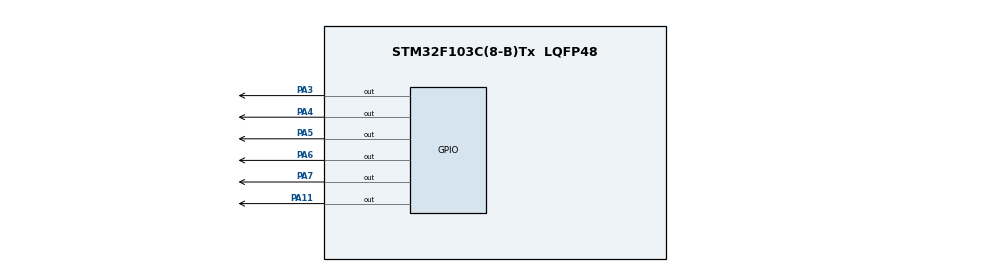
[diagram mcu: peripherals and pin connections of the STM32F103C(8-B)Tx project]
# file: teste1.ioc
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Mcu.Family=STM32F1
Mcu.Name=STM32F103C(8-B)Tx
Mcu.Package=LQFP48
NVIC.PriorityGroup=NVIC_PRIORITYGROUP_4
PA11.Signal=GPIO_Output
PA3.Signal=GPIO_Output
PA4.Signal=GPIO_Output
PA5.Signal=GPIO_Output
PA6.Signal=GPIO_Output
PA7.Signal=GPIO_Output
ProjectManager.HeapSize=0x200
ProjectManager.StackSize=0x400
ProjectManager.TargetToolchain=STM32CubeIDE
RCC.APB1Freq_Value=8000000
RCC.APB2Freq_Value=8000000
VP_SYS_VS_ND.Mode=No_Debug
board=custom

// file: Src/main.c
/* USER CODE BEGIN Header */
/**
  ******************************************************************************
  * @file           : main.c
  * @brief          : Main program body
  ******************************************************************************
  * @attention
  *
  * <h2><center>&copy; Copyright (c) 2020 STMicroelectronics.
  * All rights reserved.</center></h2>
  *
  * This software component is licensed by ST under BSD 3-Clause license,
  * the "License"; You may not use this file except in compliance with the
  * License. You may obtain a copy of the License at:
  *                        opensource.org/licenses/BSD-3-Clause
  *
  ******************************************************************************
  */
/* USER CODE END Header */

#include "main.h"

/* USER CODE BEGIN Includes */
#include "lcd/atraso.h"
#include "lcd/defPrincipais.h"
#include "lcd/NOKIA5110_fb.h"
#include "lcd/figuras.h"
#include "lcd/PRNG_LFSR.h"
/* USER CODE END Includes */

/* USER CODE BEGIN PD */
uint32_t* filter32(uint32_t* x, uint32_t* y, uint32_t* w){
	uint32_t sw1=0, sw2=0, i=0;
	HAL_GPIO_WritePin(GPIOA, GPIO_PIN_11, GPIO_PIN_SET);
	  asm volatile(
			  "mov %[i], 7 \n\t"
			  "loop32: \n\t"
		  	  	  "ldr %[sw1], [%[x]], 4 \n\t"
		  	  	  "ldr %[sw2], [%[y]], 4 \n\t"
			  	  "mul %[sw1], %[sw1], %[sw2] \n\t"
			  	  "str %[sw1], [%[w]], 4 \n\t"
			  	  "cmp %[i], 0 \n\t"
			  	  "beq fim32 \n\t"
			  	  "subs %[i], %[i], 1 \n\t"
			  	  "b loop32 \n\t"
			  "fim32: \n\t"
			  	: [w] "+r" (w) //+r because we need to read w to navigate through the memory!!
				: [x] "r" (x),
				  [y] "r" (y),
				  [i] "r" (i),
				  [sw1] "r" (sw1),
				  [sw2] "r" (sw2)
				: "memory" //memory because the memory is changed (and not only the registers)
	  );
	  HAL_GPIO_WritePin(GPIOA, GPIO_PIN_11, GPIO_PIN_RESET);
	  return w;
}

/* USER CODE END PD */

void SystemClock_Config(void);
static void MX_GPIO_Init(void);

int main(void)
{

  /* MCU Configuration--------------------------------------------------------*/

  /* Reset of all peripherals, Initializes the Flash interface and the Systick. */
  HAL_Init();

  /* Configure the system clock */
  SystemClock_Config();

  /* Initialize all configured peripherals */
  MX_GPIO_Init();
  /* USER CODE BEGIN 2 */
	inic_LCD();
	limpa_LCD();
  /* USER CODE END 2 */

  /* Infinite loop */
  /* USER CODE BEGIN WHILE */
  while (1)
  {

	  uint32_t x[8] = {1,2,3,4,5,6,7,8};
	  uint32_t y[8] = {2,3,4,5,6,7,8,1};
	  uint32_t w[8] = {0,0,0,0,0,0,0,0};

	  filter32(x,y,w);

	  uint32_t i;
	  limpa_LCD();
	  char str[3];

	  for(i=0;i<8;i++){
		  sprintf(str, "%lu ", w[i]);
		  string_LCD(str);
	  }

	  imprime_LCD();

    /* USER CODE END WHILE */

  }
}

void SystemClock_Config(void)
{
  RCC_OscInitTypeDef RCC_OscInitStruct = {0};
  RCC_ClkInitTypeDef RCC_ClkInitStruct = {0};

  /** Initializes the CPU, AHB and APB busses clocks
  */
  RCC_OscInitStruct.OscillatorType = RCC_OSCILLATORTYPE_HSI;
  RCC_OscInitStruct.HSIState = RCC_HSI_ON;
  RCC_OscInitStruct.HSICalibrationValue = RCC_HSICALIBRATION_DEFAULT;
  RCC_OscInitStruct.PLL.PLLState = RCC_PLL_NONE;
  if (HAL_RCC_OscConfig(&RCC_OscInitStruct) != HAL_OK)
  {
    Error_Handler();
  }
  /** Initializes the CPU, AHB and APB busses clocks
  */
  RCC_ClkInitStruct.ClockType = RCC_CLOCKTYPE_HCLK|RCC_CLOCKTYPE_SYSCLK
                              |RCC_CLOCKTYPE_PCLK1|RCC_CLOCKTYPE_PCLK2;
  RCC_ClkInitStruct.SYSCLKSource = RCC_SYSCLKSOURCE_HSI;
  RCC_ClkInitStruct.AHBCLKDivider = RCC_SYSCLK_DIV1;
  RCC_ClkInitStruct.APB1CLKDivider = RCC_HCLK_DIV1;
  RCC_ClkInitStruct.APB2CLKDivider = RCC_HCLK_DIV1;

  if (HAL_RCC_ClockConfig(&RCC_ClkInitStruct, FLASH_LATENCY_0) != HAL_OK)
  {
    Error_Handler();
  }
}

static void MX_GPIO_Init(void)
{
  GPIO_InitTypeDef GPIO_InitStruct = {0};

  /* GPIO Ports Clock Enable */
  __HAL_RCC_GPIOA_CLK_ENABLE();

  /*Configure GPIO pin Output Level */
  HAL_GPIO_WritePin(GPIOA, GPIO_PIN_3|GPIO_PIN_4|GPIO_PIN_5|GPIO_PIN_6
                          |GPIO_PIN_7|GPIO_PIN_11, GPIO_PIN_RESET);

  /*Configure GPIO pins : PA3 PA4 PA5 PA6
                           PA7 PA11 */
  GPIO_InitStruct.Pin = GPIO_PIN_3|GPIO_PIN_4|GPIO_PIN_5|GPIO_PIN_6
                          |GPIO_PIN_7|GPIO_PIN_11;
  GPIO_InitStruct.Mode = GPIO_MODE_OUTPUT_PP;
  GPIO_InitStruct.Pull = GPIO_NOPULL;
  GPIO_InitStruct.Speed = GPIO_SPEED_FREQ_LOW;
  HAL_GPIO_Init(GPIOA, &GPIO_InitStruct);

}

void Error_Handler(void)
{
}

/************************ (C) COPYRIGHT STMicroelectronics *****END OF FILE****/
